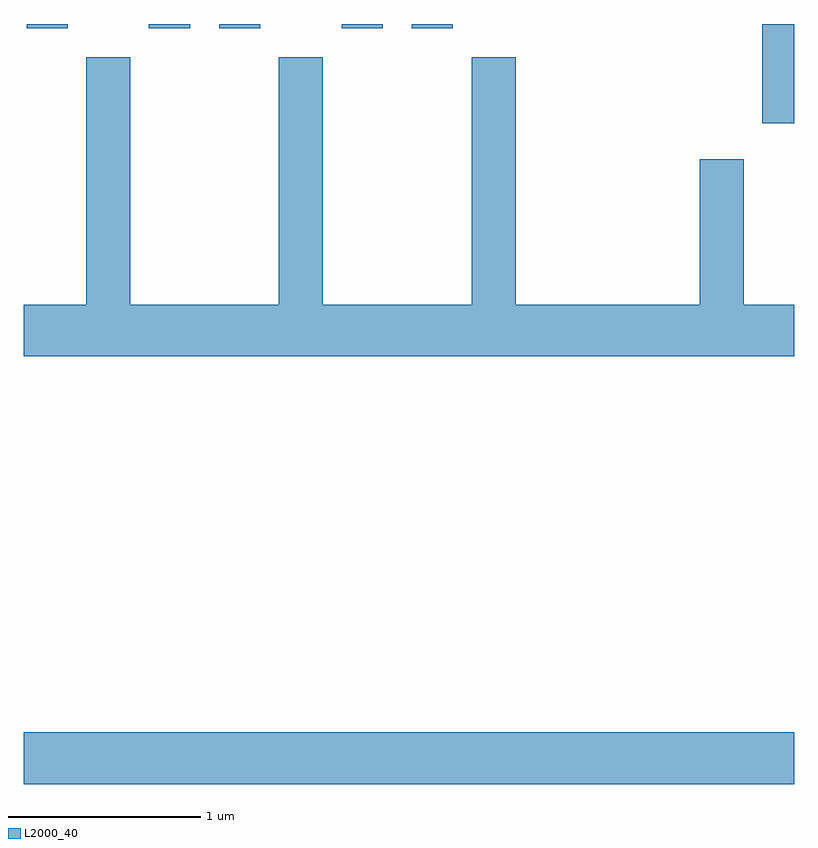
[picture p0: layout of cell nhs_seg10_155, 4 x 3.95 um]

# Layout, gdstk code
import gdstk
lib = gdstk.Library(unit=1e-6, precision=1e-09)
def R(c, l, rs):  # rectangles x0, y0, x1, y1
    for r in rs: c.add(gdstk.rectangle(r[:2], r[2:], *l))
def P(c, l, *ps):  # polygons
    for p in ps: c.add(gdstk.Polygon(p, *l))
L2000_40 = (2000, 40)

nhs_seg10_155 = lib.new_cell('nhs_seg10_155')
R(nhs_seg10_155, L2000_40, [(189.611,2120.576,193.611,2120.844), (193.446,2124.006,193.611,2124.522), (189.626,2124.501,189.839,2124.522), (190.261,2124.501,190.474,2124.522), (190.626,2124.501,190.839,2124.522), (191.261,2124.501,191.474,2124.522), (191.626,2124.501,191.839,2124.522)])
P(nhs_seg10_155, L2000_40, [(193.611,2123.064),(193.349,2123.064),(193.349,2123.819),(193.121,2123.819),(193.121,2123.064),(192.164,2123.064),(192.164,2124.349),(191.936,2124.349),(191.936,2123.064),(191.164,2123.064),(191.164,2124.349),(190.936,2124.349),(190.936,2123.064),(190.164,2123.064),(190.164,2124.349),(189.936,2124.349),(189.936,2123.064),(189.611,2123.064),(189.611,2122.796),(193.611,2122.796)])

lib.write_gds('nhs_seg10_155.gds')
